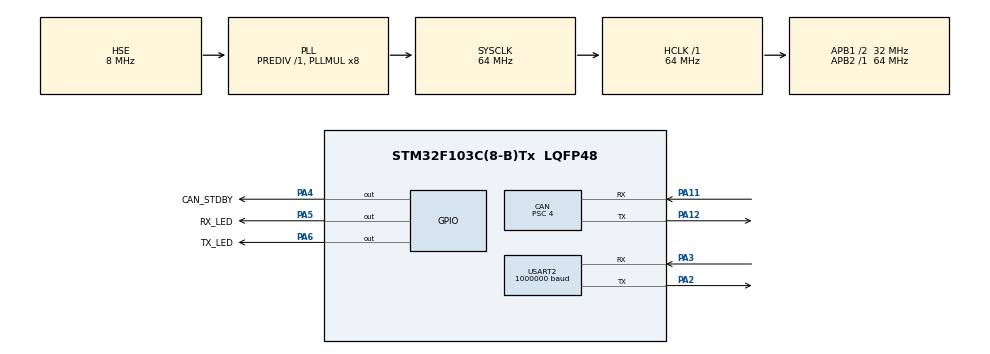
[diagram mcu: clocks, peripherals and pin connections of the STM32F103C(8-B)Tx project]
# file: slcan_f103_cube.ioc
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CAN.ABOM=ENABLE
CAN.AWUM=ENABLE
CAN.BS1=CAN_BS1_11TQ
CAN.BS2=CAN_BS2_4TQ
CAN.CalculateBaudRate=500000
CAN.CalculateTimeBit=2000
CAN.CalculateTimeQuantum=125.0
CAN.Mode=CAN_MODE_NORMAL
CAN.NART=ENABLE
CAN.Prescaler=4
CAN.RFLM=ENABLE
CAN.SJW=CAN_SJW_2TQ
CAN.TXFP=ENABLE
Dma.Request0=USART2_RX
Dma.USART2_RX.0.Direction=DMA_PERIPH_TO_MEMORY
Dma.USART2_RX.0.Instance=DMA1_Channel6
Dma.USART2_RX.0.MemDataAlignment=DMA_MDATAALIGN_BYTE
Dma.USART2_RX.0.MemInc=DMA_MINC_ENABLE
Dma.USART2_RX.0.Mode=DMA_CIRCULAR
Dma.USART2_RX.0.PeriphDataAlignment=DMA_PDATAALIGN_BYTE
Dma.USART2_RX.0.PeriphInc=DMA_PINC_DISABLE
Dma.USART2_RX.0.Priority=DMA_PRIORITY_HIGH
Mcu.Family=STM32F1
Mcu.Name=STM32F103C(8-B)Tx
Mcu.Package=LQFP48
NVIC.CAN1_RX1_IRQn=true\:0\:0\:false\:false\:true\:true\:true\:true
NVIC.DMA1_Channel6_IRQn=true\:0\:0\:false\:false\:true\:false\:true\:true
NVIC.PriorityGroup=NVIC_PRIORITYGROUP_4
NVIC.TIM2_IRQn=true\:0\:0\:false\:false\:true\:true\:true\:true
NVIC.USART2_IRQn=true\:0\:0\:false\:false\:true\:true\:true\:true
NVIC.USB_HP_CAN1_TX_IRQn=true\:0\:0\:false\:false\:true\:true\:true\:true
NVIC.USB_LP_CAN1_RX0_IRQn=true\:0\:0\:false\:false\:true\:true\:true\:true
PA11.Mode=CAN_Activate
PA11.Signal=CAN_RX
PA12.Mode=CAN_Activate
PA12.Signal=CAN_TX
PA13.Mode=Trace_Asynchronous_SW
PA13.Signal=SYS_JTMS-SWDIO
PA14.Mode=Trace_Asynchronous_SW
PA14.Signal=SYS_JTCK-SWCLK
PA2.Mode=Asynchronous
PA2.Signal=USART2_TX
PA3.GPIO_PuPd=GPIO_PULLUP
PA3.Mode=Asynchronous
PA3.Signal=USART2_RX
PA4.GPIO_Label=CAN_STDBY
PA4.GPIO_ModeDefaultOutputPP=GPIO_MODE_OUTPUT_OD
PA4.GPIO_PuPd=GPIO_NOPULL
PA4.GPIO_Speed=GPIO_SPEED_FREQ_HIGH
PA4.PinState=GPIO_PIN_RESET
PA4.Signal=GPIO_Output
PA5.GPIO_Label=RX_LED
PA5.GPIO_ModeDefaultOutputPP=GPIO_MODE_OUTPUT_PP
PA5.GPIO_PuPd=GPIO_NOPULL
PA5.GPIO_Speed=GPIO_SPEED_FREQ_HIGH
PA5.PinState=GPIO_PIN_SET
PA5.Signal=GPIO_Output
PA6.GPIO_Label=TX_LED
PA6.GPIO_Speed=GPIO_SPEED_FREQ_HIGH
PA6.PinState=GPIO_PIN_SET
PA6.Signal=GPIO_Output
PB3.Mode=Trace_Asynchronous_SW
PB3.Signal=SYS_JTDO-TRACESWO
PD0-OSC_IN.Mode=HSE-External-Oscillator
PD0-OSC_IN.Signal=RCC_OSC_IN
PD1-OSC_OUT.Mode=HSE-External-Oscillator
PD1-OSC_OUT.Signal=RCC_OSC_OUT
ProjectManager.HeapSize=0x200
ProjectManager.StackSize=0x400
ProjectManager.TargetToolchain=STM32CubeIDE
RCC.AHBFreq_Value=64000000
RCC.APB1CLKDivider=RCC_HCLK_DIV2
RCC.APB1Freq_Value=32000000
RCC.APB1TimFreq_Value=64000000
RCC.APB2Freq_Value=64000000
RCC.APB2TimFreq_Value=64000000
RCC.EnbaleCSS=true
RCC.HCLKFreq_Value=64000000
RCC.PLLMUL=RCC_PLL_MUL8
RCC.PLLSourceVirtual=RCC_PLLSOURCE_HSE
RCC.SYSCLKFreq_VALUE=64000000
RCC.SYSCLKSource=RCC_SYSCLKSOURCE_PLLCLK
RCC.USBFreq_Value=64000000
TIM2.Channel-Output\ Compare1\ No\ Output=TIM_CHANNEL_1
TIM2.ClockDivision=TIM_CLOCKDIVISION_DIV4
TIM2.Period=9
TIM2.Prescaler=159
USART2.BaudRate=1000000
USART2.VirtualMode=VM_ASYNC
VP_TIM2_VS_no_output1.Mode=Output Compare1 No Output
board=custom

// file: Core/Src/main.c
/* USER CODE BEGIN Header */
/**
 ******************************************************************************
 * @file           : main.c
 * @brief          : Main program body
 ******************************************************************************
 * @attention
 *
 * Copyright (c) 2025 STMicroelectronics.
 * All rights reserved.
 *
 * This software is licensed under terms that can be found in the LICENSE file
 * in the root directory of this software component.
 * If no LICENSE file comes with this software, it is provided AS-IS.
 *
 ******************************************************************************
 */
/* USER CODE END Header */
#include "main.h"

/* USER CODE BEGIN Includes */
#include "ring_buf.h"
#include "utils.h"

#include <stdio.h>
#include <stdbool.h>
#include <string.h>
/* USER CODE END Includes */

/* USER CODE BEGIN PTD */
typedef struct{
	struct{
		uint32_t ide;
		uint32_t val;
		uint32_t rtr;
	}id;
	uint8_t data[8];
	uint8_t dlc;
}can_packet_t;
/* USER CODE END PTD */

/* USER CODE BEGIN PD */
enum{
	CAN_BITRATE_10K,
	CAN_BITRATE_20K,
	CAN_BITRATE_50K,
	CAN_BITRATE_100K,
	CAN_BITRATE_125K,
	CAN_BITRATE_250K,
	CAN_BITRATE_500K,
	CAN_BITRATE_800K,
	CAN_BITRATE_1M
};

enum{
	ERR_FLAG_CAN_RX_FIFO_FULL,
	ERR_FLAG_CAN_TX_FIFO_FULL,
	ERR_FLAG_CAN_ERR_WARNING,
	ERR_FLAG_DATA_ORR,
	ERR_FLAG_RESERVED,
	ERR_FLAG_PASSIVE,
	ERR_FLAG_ARBITRATION_LOSS,
	ERR_FLAG_BUS_ERR
};
/* USER CODE END PD */

CAN_HandleTypeDef hcan;

TIM_HandleTypeDef htim2;

UART_HandleTypeDef huart2;
DMA_HandleTypeDef hdma_usart2_rx;

static uint8_t uart_has_err = 0;

void SystemClock_Config(void);
static void MX_GPIO_Init(void);
static void MX_DMA_Init(void);
static void MX_USART2_UART_Init(void);
static void MX_CAN_Init(void);
static void MX_TIM2_Init(void);

/* USER CODE BEGIN 0 */

static struct ring input_ring;
static struct ring output_ring;

static uint8_t input_buf[RING_BUFFER_SIZE];
static uint8_t rx_ch[RING_BUFFER_SIZE];

static uint16_t last_dma_pos;
static uint16_t current_dma_pos;

//volatile uint8_t commands_pending;

static uint8_t channel_open = 0;
static CAN_TxHeaderTypeDef tx_header;
static uint8_t uart_tx_busy;
uint32_t rx_active = 0;
uint32_t tx_active = 0;
uint8_t can_err = 0;

#define CAN_BUF_SIZE	512

can_packet_t can_buf[CAN_BUF_SIZE];

static uint16_t can_buf_head = 0;
static uint16_t can_buf_tail = 0;

static uint64_t ns_count = 0;

static int can_buf_get(can_packet_t *packet)
{
	uint16_t next;
	next = can_buf_tail + 1;
	if(next >= CAN_BUF_SIZE){
		next = 0;
	}

	if(can_buf_tail == can_buf_head){
		return 0;
	}

	if(packet){
		memcpy(packet, &can_buf[can_buf_tail], sizeof(can_packet_t));
	}
	can_buf_tail = next;

	return 1;
}

static void can_buf_add(can_packet_t *packet)
{
	uint16_t next;
	next = can_buf_head + 1;
	if(next >= CAN_BUF_SIZE){
		next = 0;
	}

	if(next == can_buf_tail){
		can_err |= (1 << ERR_FLAG_CAN_RX_FIFO_FULL);
		return;
	}

	memcpy(&can_buf[can_buf_head], packet, sizeof(can_packet_t));
	can_buf_head = next;
}

static void put_hex(uint8_t c)
{
	uint8_t s[2];
	bin2hex(s, c);
//	(void)ring_write(&output_ring, s, 2);
}

//void HAL_UART_TxCpltCallback(UART_HandleTypeDef *huart)
//{
//	(void)huart;
////	uart_tx_busy = 0;
//}

void HAL_CAN_RxFifo0MsgPendingCallback(CAN_HandleTypeDef *hcan)
{
	CAN_RxHeaderTypeDef rx_header;
	uint8_t can_rx[8];
	can_packet_t tmp;
	char c;

	if(HAL_CAN_GetRxMessage(hcan, CAN_RX_FIFO0, &rx_header, can_rx) == HAL_OK){
		tmp.id.rtr = rx_header.RTR;
		tmp.id.ide = rx_header.IDE;
		tmp.dlc = rx_header.DLC;

		if(tmp.id.ide == CAN_ID_STD){
			tmp.id.val = rx_header.StdId;
		}
		else{
			tmp.id.val = rx_header.ExtId;
		}

		memcpy(tmp.data, can_rx, tmp.dlc);
		can_buf_add(&tmp);
	}
}

void HAL_UART_ErrorCallback (UART_HandleTypeDef * huart)
{
	uart_has_err = 1;
}

static int uart_read_blocking(uint8_t *c, uint32_t timeout)
{
	uint8_t rx_complete;
	uint32_t start_ms;

	start_ms = HAL_GetTick();
	rx_complete = 0;

	if(ring_read_ch(&input_ring, c) <= 0){
		// Wait for DMA data
		do{
			uint32_t dma_counter = __HAL_DMA_GET_COUNTER(&hdma_usart2_rx);
			current_dma_pos = (uint16_t)(sizeof(rx_ch)/sizeof(rx_ch[0])) - dma_counter;
			if(HAL_GetTick() - start_ms > timeout){
				return -10;
			}
		}while(current_dma_pos == last_dma_pos);

		if(current_dma_pos > last_dma_pos){
			(void)ring_write(&input_ring, &rx_ch[last_dma_pos], current_dma_pos - last_dma_pos);
		}
		else if(current_dma_pos < last_dma_pos){
			(void)ring_write(&input_ring, &rx_ch[last_dma_pos], (sizeof(rx_ch)/sizeof(rx_ch[0])) - last_dma_pos);
			if(current_dma_pos > 0){
				(void)ring_write(&input_ring, &rx_ch[0], current_dma_pos);
			}
		}

		last_dma_pos = current_dma_pos;
		if(ring_read_ch(&input_ring, c) <= 0){
			return -10;
		}
	}

	return 0;
}

static HAL_StatusTypeDef can_filter_setup()
{
	static CAN_FilterTypeDef can_filter;

	can_filter.FilterIdHigh = 0;
	can_filter.FilterIdLow = 0;
	can_filter.FilterMaskIdHigh = 0;
	can_filter.FilterMaskIdLow = 0;
	can_filter.FilterFIFOAssignment = CAN_FILTER_FIFO0;
	can_filter.FilterBank = 0;
	can_filter.FilterMode = CAN_FILTERMODE_IDMASK;
	can_filter.FilterScale = CAN_FILTERSCALE_32BIT;
	can_filter.FilterActivation = CAN_FILTER_ENABLE;
	can_filter.SlaveStartFilterBank = 6;

	return HAL_CAN_ConfigFilter(&hcan, &can_filter);
}

static HAL_StatusTypeDef can_reinit(uint32_t prescaler, uint32_t seg1, uint32_t seg2)
{
	HAL_CAN_Stop(&hcan);
	HAL_Delay(1);
	HAL_CAN_DeInit(&hcan);
	HAL_Delay(1);

	hcan.Instance = CAN1;
	hcan.Init.Prescaler = prescaler;
	hcan.Init.Mode = CAN_MODE_NORMAL;
	hcan.Init.SyncJumpWidth = CAN_SJW_1TQ;
	hcan.Init.TimeSeg1 = seg1;
	hcan.Init.TimeSeg2 = seg2;
	hcan.Init.TimeTriggeredMode = DISABLE;
	hcan.Init.AutoBusOff = ENABLE;
	hcan.Init.AutoWakeUp = DISABLE;
	hcan.Init.AutoRetransmission = ENABLE;
	hcan.Init.ReceiveFifoLocked = DISABLE;
	hcan.Init.TransmitFifoPriority = ENABLE;

	if(HAL_CAN_Init(&hcan) != HAL_OK){
		return HAL_ERROR;
	}

	if(can_filter_setup() != HAL_OK){
		return HAL_ERROR;
	}

	if(HAL_CAN_ActivateNotification(&hcan, CAN_IT_RX_FIFO0_MSG_PENDING)){
		return HAL_ERROR;
	}

	if(HAL_CAN_Start(&hcan) != HAL_OK){
		return HAL_ERROR;
	}

	return HAL_OK;
}

static int can_init(int index)
{
	int ret;
	switch(index){
	case CAN_BITRATE_10K:{
		if(can_reinit(200, CAN_BS1_13TQ, CAN_BS2_2TQ) == HAL_OK){
			ret = 0;
		}
		else{
			ret = -1;
		}
		break;
	}
	case CAN_BITRATE_20K:{
		if(can_reinit(100, CAN_BS1_13TQ, CAN_BS2_2TQ) == HAL_OK){
			ret = 0;
		}
		else{
			ret = -1;
		}
		break;
	}
	case CAN_BITRATE_50K:{
		if(can_reinit(40, CAN_BS1_13TQ, CAN_BS2_2TQ) == HAL_OK){
			ret = 0;
		}
		else{
			ret = -1;
		}
		break;
	}
	case CAN_BITRATE_100K:{
		if(can_reinit(20, CAN_BS1_13TQ, CAN_BS2_2TQ) == HAL_OK){
			ret = 0;
		}
		else{
			ret = -1;
		}
		break;
	}
	case CAN_BITRATE_125K:{
		if(can_reinit(16, CAN_BS1_13TQ, CAN_BS2_2TQ) == HAL_OK){
			ret = 0;
		}
		else{
			ret = -1;
		}
		break;
	}
	case CAN_BITRATE_250K:{
		if(can_reinit(8, CAN_BS1_13TQ, CAN_BS2_2TQ) == HAL_OK){
			ret = 0;
		}
		else{
			ret = -1;
		}
		break;
	}
	case CAN_BITRATE_500K:{
		if(can_reinit(4, CAN_BS1_13TQ, CAN_BS2_2TQ) == HAL_OK){
			ret = 0;
		}
		else{
			ret = -1;
		}
		break;
	}
	case CAN_BITRATE_800K:{
		if(can_reinit(4, CAN_BS1_8TQ, CAN_BS2_1TQ) == HAL_OK){
			ret = 0;
		}
		else{
			ret = -1;
		}
		break;
	}
	case CAN_BITRATE_1M:{
		if(can_reinit(2, CAN_BS1_13TQ, CAN_BS2_2TQ) == HAL_OK){
			ret = 0;
		}
		else{
			ret = -1;
		}
		break;
	}
	default:{
		ret = -1;
		break;
	}
	}

	return ret;
}

static int can_speed(int index)
{
	int res;
	HAL_GPIO_WritePin(CAN_STDBY_GPIO_Port, CAN_STDBY_Pin, 0);
	HAL_Delay(1);
	DEBUG_PRINT("Speed %d", index);
	res = can_init(index);
	if(res < 0){
		can_err |= (1 << ERR_FLAG_BUS_ERR);
	}
	else{
		can_err &= ~(1 << ERR_FLAG_BUS_ERR);
	}

	return res;
}

static uint32_t get_nibbles(int nibbles)
{
	int i;
	uint32_t id;
	uint8_t c;

	id = 0;
	for (i = 0; i < nibbles; i++) {
		if(uart_read_blocking(&c, 5) >= 0){
			id <<= 4;
			id |= nibble2bin(c);
		}
	}
	return id;
}

static int dump_can_messages()
{
	can_packet_t tmp;
	static uint8_t tx_buf[128];
	int tx_index = 0;
	char c;

	if(can_buf_get(&tmp) > 0){
		can_err &= ~(1 << ERR_FLAG_CAN_RX_FIFO_FULL);
		if(tmp.id.rtr == CAN_RTR_REMOTE){
			if(tmp.id.ide == CAN_ID_EXT){
				tx_buf[tx_index++] = 'R';
			}
			else{
				tx_buf[tx_index++] = 'r';
			}
		}
		else{
			if(tmp.id.ide == CAN_ID_EXT){
				tx_buf[tx_index++] = 'T';
			}
			else{
				tx_buf[tx_index++] = 't';
			}
		}

//		(void)ring_write_ch(&output_ring, c);

		if(tmp.id.ide == CAN_ID_EXT){
			c = (uint8_t)((tmp.id.val >> 24) & 0xff);
//			put_hex(c);
			bin2hex(&tx_buf[tx_index], c);
			tx_index += 2;
			c = (uint8_t)((tmp.id.val >> 16) & 0xff);
//			put_hex(c);
			bin2hex(&tx_buf[tx_index], c);
			tx_index += 2;
			c = (uint8_t)((tmp.id.val >> 8) & 0xff);
//			put_hex(c);
			bin2hex(&tx_buf[tx_index], c);
			tx_index += 2;
			c = (uint8_t)(tmp.id.val & 0xff);
//			put_hex(c);
			bin2hex(&tx_buf[tx_index], c);
			tx_index += 2;
		}
		else{
			/* bits 11-9 */
			c = (tmp.id.val >> 8) & 0x07;
			c += 0x30;

			tx_buf[tx_index++] = c;
			//	        put_hex(c);
//			(void)ring_write_ch(&output_ring, c);
			/* bits 8-1 */
			c = tmp.id.val & 0xff;
//			put_hex(c);
			bin2hex(&tx_buf[tx_index], c);
			tx_index += 2;
		}

		c = (uint8_t)(tmp.dlc);
		c += 0x30;
		tx_buf[tx_index++] = c;
//		(void)ring_write_ch(&output_ring, c);
		//		put_hex(c);

		for (uint32_t i = 0; i < tmp.dlc; i++){
//			put_hex(tmp.data[i]);
			bin2hex(&tx_buf[tx_index], tmp.data[i]);
			tx_index += 2;
		}

		tx_buf[tx_index++] = '\r';
		while(HAL_UART_Transmit(&huart2, tx_buf, tx_index, HAL_MAX_DELAY) != HAL_OK){
//			HAL_Delay(1);
		}
		rx_active++;
		return 1;
	}

	return -1;
}

static int transmit_can_packet(uint32_t id, uint32_t ext, uint32_t rtr, uint8_t dlc, const uint8_t *data)
{
	DEBUG_PRINT("Send");
	uint32_t mailbox;
	CAN_TxHeaderTypeDef tx_header;
	uint32_t can_tx_ms;

	tx_header.DLC = dlc;
	tx_header.IDE = ext ? CAN_ID_EXT : CAN_ID_STD;
	tx_header.RTR = rtr ? CAN_RTR_REMOTE : CAN_RTR_DATA;
	tx_header.StdId = tx_header.ExtId = id;

	can_tx_ms = HAL_GetTick();

	// Blink LED on successful uart reception
	tx_active++;

	do{
		if(HAL_CAN_AddTxMessage(&hcan, &tx_header, data, &mailbox) == HAL_OK){
			can_err &= ~(1 << ERR_FLAG_CAN_TX_FIFO_FULL);
			return 0;
		}
	}while(HAL_GetTick() - can_tx_ms < 10);
	can_err |= (1 << ERR_FLAG_CAN_TX_FIFO_FULL);

	return -1;
}

static int wait_msg_end()
{
	int res = -1;
	uint32_t start_ms;
	start_ms = HAL_GetTick();
	do{
		uint8_t c = 0;
		(void)uart_read_blocking(&c, 50);
		if(c == '\r'){
			res = 0;
			break;
		}
	}while(HAL_GetTick() - start_ms < 100);

	return res;
}

static int slcan_command(void)
{
	uint8_t tx = 0;
	uint8_t ext=0, rtr=0;
	uint8_t dlc=0, data[8] = {0};
	uint32_t id=0;
	uint8_t c=0;

	if(uart_read_blocking(&c, 5) < 0){
		return -100;
	}

	DEBUG_PRINT("Uart RX %c", c);

	switch (c) {
	case 'T':
		ext = 1;
		id = get_nibbles(8);
		dlc = (uint8_t)get_nibbles(1);
		if(dlc > 8){
			return -10;
		}

		if(channel_open){
			tx = 1;
		}
		else{
			wait_msg_end();
			return -10;
		}
		break;
	case 't':
		id = get_nibbles(3);
		dlc = (uint8_t)get_nibbles(1);
		if(dlc > 8){
			return -10;
		}

		if(channel_open){
			tx = 1;
		}
		else{
			wait_msg_end();
			return -10;
		}
		break;
	case 'R':
		rtr = 1;
		ext = 1;
		id = get_nibbles(8);
		dlc = (uint8_t)get_nibbles(1);
		if(channel_open){
			tx = 1;
		}
		else{
			wait_msg_end();
			return -10;
		}
		break;
	case 'r':
		rtr = 1;
		id = get_nibbles(3);
		dlc = (uint8_t)get_nibbles(1);
		if(channel_open){
			tx = 1;
		}
		else{
			wait_msg_end();
			return -10;
		}
		break;
	case 'S':
		c = (uint8_t)get_nibbles(1);
		if(wait_msg_end() < 0){
			return -10;
		}

		if(can_speed(c) < 0){
			return -10;
		}
		break;
	case 'v':
	case 'V':
		if(wait_msg_end() < 0){
			return -10;
		}

		const char *ver = "V0101";
		if(HAL_UART_Transmit(&huart2, (const uint8_t *)ver, strlen(ver), 100) != HAL_OK){
			return -10;
		}
		break;
	case 'C':
		if(wait_msg_end() < 0){
			return -10;
		}
		channel_open = 0;
		break;
	case 'o':
	case 'O':{
		if(wait_msg_end() < 0){
			return -10;
		}

		DEBUG_PRINT("Open channel");
		channel_open = 1;
		break;
	}
	case 'N':{
		if(wait_msg_end() < 0){
			return -10;
		}

		const char *sn = "NGE01";
		if(HAL_UART_Transmit(&huart2, (const uint8_t *)sn, strlen(sn), 100) != HAL_OK){
			return -10;
		}
		break;
	}
	case 'F':
		if(wait_msg_end() < 0){
			return -10;
		}

		char resp[8] = {0};
		snprintf(resp, sizeof(resp), "F%02x", can_err);
		if(HAL_UART_Transmit(&huart2, (const uint8_t *)resp, strlen(resp), 100) != HAL_OK){
			return -10;
		}
		break;
	default:
		break;
	}

	if(tx){
		for (int i = 0; i < dlc; i++) {
			data[i] = (uint8_t)get_nibbles(2);
		}

		if(wait_msg_end() < 0){
			return -10;
		}

		if(transmit_can_packet(id, ext, rtr, dlc, data) < 0){
			return -10;
		}

		DEBUG_PRINT("Transmit");
	}

	return 0;
}

#ifdef DEBUG
int _write(int file, char *ptr, int len)
{
	(void)file;
	int i = 0;
	for(i=0; i<len; ++i){
		ITM_SendChar(ptr[i]);
	}

	return i;
}
#endif

/* USER CODE END 0 */

int main(void)
{

  /* MCU Configuration--------------------------------------------------------*/

  /* Reset of all peripherals, Initializes the Flash interface and the Systick. */
  HAL_Init();

  /* Configure the system clock */
  SystemClock_Config();

  /* Initialize all configured peripherals */
  MX_GPIO_Init();
  MX_DMA_Init();
  MX_USART2_UART_Init();
  MX_CAN_Init();
  MX_TIM2_Init();
  /* USER CODE BEGIN 2 */
	DEBUG_PRINT("Init..");
  /* USER CODE END 2 */

  /* Infinite loop */
  /* USER CODE BEGIN WHILE */
	ring_setup(&input_ring, input_buf, RING_BUFFER_SIZE);
	last_dma_pos = 0;
	uart_tx_busy = 0;

	HAL_Delay(1000);

	DEBUG_PRINT("Start..");
	can_speed(6);
	HAL_TIM_Base_Start_IT(&htim2);

	HAL_Delay(1000);
	while(HAL_UART_Receive_DMA(&huart2, rx_ch, sizeof(rx_ch)/sizeof(rx_ch[0])) != HAL_OK);
	static uint8_t rsp;
	while (1)
	{
		int slcan_ret;
		slcan_ret = slcan_command();
		if(slcan_ret == 0){
			rsp = '\r';
			HAL_UART_Transmit(&huart2, &rsp, 1, HAL_MAX_DELAY);
			DEBUG_PRINT("Complete Message");
		}
		else if(slcan_ret >= -10){
			rsp = 0x07;
			HAL_UART_Transmit(&huart2, &rsp, 1, HAL_MAX_DELAY);
		}

		(void)dump_can_messages();

		if(uart_has_err){
			__HAL_UART_CLEAR_FEFLAG(&huart2);
			__HAL_UART_CLEAR_OREFLAG(&huart2);
			__HAL_UART_CLEAR_PEFLAG(&huart2);
			HAL_Delay(1);
			if(HAL_UART_Receive_DMA(&huart2, rx_ch, sizeof(rx_ch)/sizeof(rx_ch[0])) == HAL_OK){
				uart_has_err = 0;
			}
		}

    /* USER CODE END WHILE */

	}
}

void SystemClock_Config(void)
{
  RCC_OscInitTypeDef RCC_OscInitStruct = {0};
  RCC_ClkInitTypeDef RCC_ClkInitStruct = {0};

  /** Initializes the RCC Oscillators according to the specified parameters
  * in the RCC_OscInitTypeDef structure.
  */
  RCC_OscInitStruct.OscillatorType = RCC_OSCILLATORTYPE_HSE;
  RCC_OscInitStruct.HSEState = RCC_HSE_ON;
  RCC_OscInitStruct.HSEPredivValue = RCC_HSE_PREDIV_DIV1;
  RCC_OscInitStruct.HSIState = RCC_HSI_ON;
  RCC_OscInitStruct.PLL.PLLState = RCC_PLL_ON;
  RCC_OscInitStruct.PLL.PLLSource = RCC_PLLSOURCE_HSE;
  RCC_OscInitStruct.PLL.PLLMUL = RCC_PLL_MUL8;
  if (HAL_RCC_OscConfig(&RCC_OscInitStruct) != HAL_OK)
  {
    Error_Handler();
  }

  /** Initializes the CPU, AHB and APB buses clocks
  */
  RCC_ClkInitStruct.ClockType = RCC_CLOCKTYPE_HCLK|RCC_CLOCKTYPE_SYSCLK
                              |RCC_CLOCKTYPE_PCLK1|RCC_CLOCKTYPE_PCLK2;
  RCC_ClkInitStruct.SYSCLKSource = RCC_SYSCLKSOURCE_PLLCLK;
  RCC_ClkInitStruct.AHBCLKDivider = RCC_SYSCLK_DIV1;
  RCC_ClkInitStruct.APB1CLKDivider = RCC_HCLK_DIV2;
  RCC_ClkInitStruct.APB2CLKDivider = RCC_HCLK_DIV1;

  if (HAL_RCC_ClockConfig(&RCC_ClkInitStruct, FLASH_LATENCY_2) != HAL_OK)
  {
    Error_Handler();
  }

  /** Enables the Clock Security System
  */
  HAL_RCC_EnableCSS();
}

static void MX_CAN_Init(void)
{

  hcan.Instance = CAN1;
  hcan.Init.Prescaler = 4;
  hcan.Init.Mode = CAN_MODE_NORMAL;
  hcan.Init.SyncJumpWidth = CAN_SJW_2TQ;
  hcan.Init.TimeSeg1 = CAN_BS1_11TQ;
  hcan.Init.TimeSeg2 = CAN_BS2_4TQ;
  hcan.Init.TimeTriggeredMode = DISABLE;
  hcan.Init.AutoBusOff = ENABLE;
  hcan.Init.AutoWakeUp = ENABLE;
  hcan.Init.AutoRetransmission = ENABLE;
  hcan.Init.ReceiveFifoLocked = ENABLE;
  hcan.Init.TransmitFifoPriority = ENABLE;
  if (HAL_CAN_Init(&hcan) != HAL_OK)
  {
    Error_Handler();
  }

}

static void MX_TIM2_Init(void)
{

  TIM_MasterConfigTypeDef sMasterConfig = {0};
  TIM_OC_InitTypeDef sConfigOC = {0};

  htim2.Instance = TIM2;
  htim2.Init.Prescaler = 159;
  htim2.Init.CounterMode = TIM_COUNTERMODE_UP;
  htim2.Init.Period = 9;
  htim2.Init.ClockDivision = TIM_CLOCKDIVISION_DIV4;
  htim2.Init.AutoReloadPreload = TIM_AUTORELOAD_PRELOAD_DISABLE;
  if (HAL_TIM_OC_Init(&htim2) != HAL_OK)
  {
    Error_Handler();
  }
  sMasterConfig.MasterOutputTrigger = TIM_TRGO_RESET;
  sMasterConfig.MasterSlaveMode = TIM_MASTERSLAVEMODE_DISABLE;
  if (HAL_TIMEx_MasterConfigSynchronization(&htim2, &sMasterConfig) != HAL_OK)
  {
    Error_Handler();
  }
  sConfigOC.OCMode = TIM_OCMODE_TIMING;
  sConfigOC.Pulse = 0;
  sConfigOC.OCPolarity = TIM_OCPOLARITY_HIGH;
  sConfigOC.OCFastMode = TIM_OCFAST_DISABLE;
  if (HAL_TIM_OC_ConfigChannel(&htim2, &sConfigOC, TIM_CHANNEL_1) != HAL_OK)
  {
    Error_Handler();
  }

}

static void MX_USART2_UART_Init(void)
{

  huart2.Instance = USART2;
  huart2.Init.BaudRate = 1000000;
  huart2.Init.WordLength = UART_WORDLENGTH_8B;
  huart2.Init.StopBits = UART_STOPBITS_1;
  huart2.Init.Parity = UART_PARITY_NONE;
  huart2.Init.Mode = UART_MODE_TX_RX;
  huart2.Init.HwFlowCtl = UART_HWCONTROL_NONE;
  huart2.Init.OverSampling = UART_OVERSAMPLING_16;
  if (HAL_UART_Init(&huart2) != HAL_OK)
  {
    Error_Handler();
  }

}

static void MX_DMA_Init(void)
{

  /* DMA controller clock enable */
  __HAL_RCC_DMA1_CLK_ENABLE();

  /* DMA interrupt init */
  /* DMA1_Channel6_IRQn interrupt configuration */
  HAL_NVIC_SetPriority(DMA1_Channel6_IRQn, 0, 0);
  HAL_NVIC_EnableIRQ(DMA1_Channel6_IRQn);

}

static void MX_GPIO_Init(void)
{
  GPIO_InitTypeDef GPIO_InitStruct = {0};

  /* GPIO Ports Clock Enable */
  __HAL_RCC_GPIOD_CLK_ENABLE();
  __HAL_RCC_GPIOA_CLK_ENABLE();
  __HAL_RCC_GPIOB_CLK_ENABLE();

  /*Configure GPIO pin Output Level */
  HAL_GPIO_WritePin(CAN_STDBY_GPIO_Port, CAN_STDBY_Pin, GPIO_PIN_RESET);

  /*Configure GPIO pin Output Level */
  HAL_GPIO_WritePin(GPIOA, RX_LED_Pin|TX_LED_Pin, GPIO_PIN_SET);

  /*Configure GPIO pin : CAN_STDBY_Pin */
  GPIO_InitStruct.Pin = CAN_STDBY_Pin;
  GPIO_InitStruct.Mode = GPIO_MODE_OUTPUT_OD;
  GPIO_InitStruct.Pull = GPIO_NOPULL;
  GPIO_InitStruct.Speed = GPIO_SPEED_FREQ_HIGH;
  HAL_GPIO_Init(CAN_STDBY_GPIO_Port, &GPIO_InitStruct);

  /*Configure GPIO pins : RX_LED_Pin TX_LED_Pin */
  GPIO_InitStruct.Pin = RX_LED_Pin|TX_LED_Pin;
  GPIO_InitStruct.Mode = GPIO_MODE_OUTPUT_PP;
  GPIO_InitStruct.Pull = GPIO_NOPULL;
  GPIO_InitStruct.Speed = GPIO_SPEED_FREQ_HIGH;
  HAL_GPIO_Init(GPIOA, &GPIO_InitStruct);

}

/* USER CODE BEGIN 4 */
void HAL_TIM_PeriodElapsedCallback(TIM_HandleTypeDef *htim)
{
	if(htim->Instance == htim2.Instance){
		ns_count++;
	}
}
/* USER CODE END 4 */

void Error_Handler(void)
{
  /* USER CODE BEGIN Error_Handler_Debug */
	/* User can add his own implementation to report the HAL error return state */
	__disable_irq();
	while (1)
	{
		NVIC_SystemReset();
	}
  /* USER CODE END Error_Handler_Debug */
}
